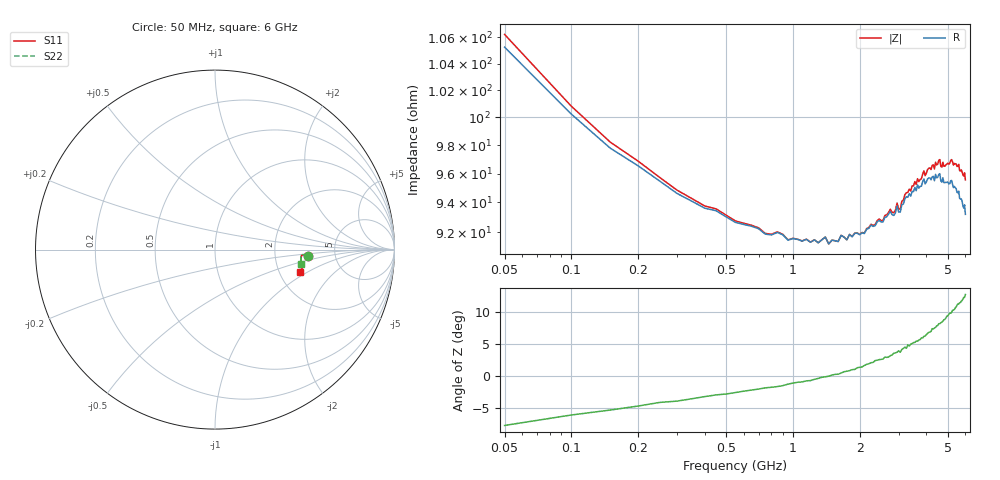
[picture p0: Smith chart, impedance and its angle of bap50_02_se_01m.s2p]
! Created by janssen on Wed Jul 24 13:32:40 METDST 2002
# HZ S MA R 50
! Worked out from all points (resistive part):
!   120 points, 50 MHz to 6 GHz, reference 50 ohm
!   read as one part in series: R = 105 ohm at 50 MHz
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5e7  0.5169 -4.2  0.4864 3.8  0.4858 3.9  0.517 -4.1
1e8  0.5033 -3.7  0.4989 2.7  0.4991 2.8  0.5035 -3.6
1.5e8  0.4973 -3.4  0.5054 2.3  0.5047 2.2  0.4963 -3.4
2.5e8  0.4902 -3.4  0.5114 1.3  0.5121 1.4  0.4904 -3.3
5.5e8  0.4825 -4.1  0.5194 -0.3  0.5194 -0.2  0.4832 -3.8
1.05e9  0.4814 -5.7  0.5229 -2.3  0.5237 -2.1  0.48 -5.0
2.05e9  0.485 -8.9  0.5223 -5.9  0.5234 -5.8  0.4836 -7.7
3e9  0.4898 -11.2  0.5179 -9.0  0.5207 -9.0  0.4884 -9.1
3.05e9  0.4911 -11.7  0.5176 -9.1  0.5231 -9.0  0.4878 -9.3
3.1e9  0.4915 -11.6  0.5166 -9.3  0.5191 -9.4  0.4897 -9.2
3.55e9  0.495 -12.5  0.5127 -10.6  0.5176 -10.6  0.4932 -9.5
4.05e9  0.4975 -12.9  0.5107 -12.1  0.5156 -12.0  0.4943 -9.9
4.4e9  0.4982 -13.6  0.5088 -13.0  0.5149 -13.1  0.4942 -9.9
4.8e9  0.4951 -14.1  0.5095 -14.1  0.5142 -14.3  0.4932 -10.0
5.05e9  0.4963 -14.2  0.5101 -14.8  0.5149 -15.0  0.4946 -10.1
5.55e9  0.4952 -14.6  0.5106 -16.2  0.5172 -16.4  0.4927 -9.7
5.6e9  0.495 -14.5  0.5098 -16.2  0.5142 -16.6  0.4909 -10.1
5.8e9  0.4951 -15.1  0.512 -16.7  0.5151 -17.2  0.4895 -9.8
5.85e9  0.492 -14.8  0.513 -16.8  0.5167 -17.6  0.4914 -9.8
5.9e9  0.4919 -14.7  0.5125 -16.9  0.5165 -17.6  0.4886 -9.7
5.95e9  0.4929 -15.1  0.5118 -17.0  0.5168 -17.8  0.4892 -9.8
6e9  0.4914 -14.9  0.5133 -17.4  0.5174 -17.8  0.4874 -9.8
